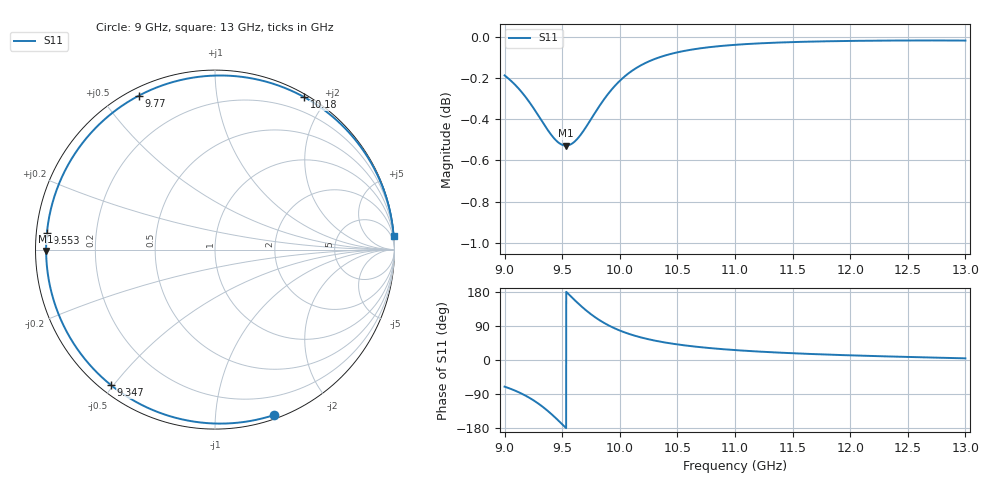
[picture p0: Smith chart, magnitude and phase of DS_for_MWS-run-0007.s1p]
! TOUCHSTONE file generated by CST DESIGN STUDIO
! Date and time: Tue Feb  4 13:38:58 2025
! Project name: C:\Work\MatlabApps\UnitCellOptimizationMatlab\CST\unitcell.cst
! Tree item: Tasks\Sweep1\SPara1\S-Parameters
! Header version: 2024
! Port assignment regex: !\s*Touchstone port\s*([0-9]+)\s*=\s*(CST MWS port|CST DES external port|CST DES block port)\s*(.+)\s* \(\"(.*)\"\)(\s*mode\s*([0-9]+))?.*
! Touchstone port assignment:
! Touchstone port 1 = CST DES external port 1 ("")
# GHz S MA R 50
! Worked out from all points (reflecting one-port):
!   4001 points, 9 GHz to 13 GHz, reference 50 ohm
!   lowest |S11| = -0.5 dB at 9.533 GHz (marker M1), VSWR 32.90, Z = 1.52 - j0.206 ohm
!   phase of S11 starts at -70 deg and turns -285 deg over the sweep
!   S11 on the Smith chart (normalised r, x): 9 GHz: 0.03, -1.42; 9.347 GHz: 0.03, -0.49; 9.553 GHz: 0.03, +0.05; 9.77 GHz: 0.03, +0.62; 10.18 GHz: 0.03, +1.74; 13 GHz: 1, +26
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9  0.9787 -70.3
9.097  0.9732 -81.6
9.205  0.965 -98.0
9.28  0.9582 -112.3
9.347  0.9518 -127.4
9.419  0.9456 -146.2
9.461  0.9429 -158.1
9.5  0.9414 -169.6
9.533  0.941 -179.5
9.553  0.9412 174.4
9.607  0.9431 158.4
9.668  0.9474 141.2
9.719  0.952 128.1
9.77  0.957 116.2
9.818  0.9616 106.3
9.871  0.9664 96.5
9.935  0.9714 86.4
10  0.9757 77.8
10.087  0.9804 68.1
10.182  0.9842 59.7
10.327  0.9883 49.8
10.5  0.9914 41.1
10.721  0.9938 33.2
11  0.9956 26.2
11.5  0.9971 17.9
12  0.9978 12.3
12.5  0.998 8.0
13  0.998 4.4
